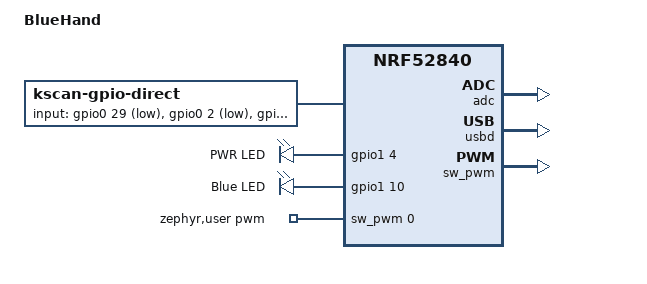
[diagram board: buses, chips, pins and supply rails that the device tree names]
/*
 * Copyright (c) 2022 The ZMK Contributors
 *
 * SPDX-License-Identifier: MIT
 */


/dts-v1/;
#include <nordic/nrf52840_qiaa.dtsi>
#include "arduino_pro_micro_pins.dtsi"

/ {
	model = "BlueHand";
	compatible = "blue,hand";

    chosen {
		zephyr,code-partition = &code_partition;
        zephyr,sram = &sram0;
		zephyr,flash = &flash0;
		zephyr,console = &cdc_acm_uart;
		zmk,kscan = &kscan0;
		zmk,matrix_transform = &layout_grid_transform;
    };

    kscan0: kscan_0 {
        compatible = "zmk,kscan-gpio-direct";
		label = "KSCAN";

        input-gpios
			= <&gpio0 29 (GPIO_ACTIVE_LOW | GPIO_PULL_UP)>
			, <&gpio0 2  (GPIO_ACTIVE_LOW | GPIO_PULL_UP)>
			, <&gpio0 28 (GPIO_ACTIVE_LOW | GPIO_PULL_UP)>
			, <&gpio0 3  (GPIO_ACTIVE_LOW | GPIO_PULL_UP)>
			, <&gpio0 13 (GPIO_ACTIVE_LOW | GPIO_PULL_UP)>
			, <&gpio0 24 (GPIO_ACTIVE_LOW | GPIO_PULL_UP)>
			, <&gpio0 9  (GPIO_ACTIVE_LOW | GPIO_PULL_UP)>
			, <&gpio0 10 (GPIO_ACTIVE_LOW | GPIO_PULL_UP)>
			;
    };

    leds {
		compatible = "gpio-leds";
		powerled: led_r {
			gpios = <&gpio1 4 GPIO_ACTIVE_HIGH>;
			label = "PWR LED";
		};

		activityled: led_b {
			gpios = <&gpio1 10 GPIO_ACTIVE_HIGH>;
			label = "Blue LED";
		};
	};

	zephyr,user {
		/* period cell corresponds to initial period */
		pwms = <&sw_pwm 0 PWM_USEC(1500) PWM_POLARITY_NORMAL>;
	};

};
&adc {
	status = "okay";
};

&gpiote {
	status = "okay";
};

&gpio0 {
	status = "okay";
};

&gpio1 {
	status = "okay";
};

&usbd {
	status = "okay";
	cdc_acm_uart: cdc_acm_uart {
		compatible = "zephyr,cdc-acm-uart";
		label = "CDC_ACM_0";
	};
};


&flash0 {
	/*
	 * For more information, see:
	 * http://docs.zephyrproject.org/latest/devices/dts/flash_partitions.html
	 */
	partitions {
		compatible = "fixed-partitions";
		#address-cells = <1>;
		#size-cells = <1>;

		sd_partition: partition@0 {
			label = "softdevice";
			reg = <0x00000000 0x00026000>;
		};
		code_partition: partition@26000 {
			label = "code_partition";
			reg = <0x00026000 0x000c6000>;
		};

		/*
		 * The flash starting at 0x000ec000 and ending at
		 * 0x000f3fff is reserved for use by the application.
		 */

		/*
		 * Storage partition will be used by FCB/LittleFS/NVS
		 * if enabled.
		 */
		storage_partition: partition@ec000 {
			label = "storage";
			reg = <0x000ec000 0x00008000>;
		};

		boot_partition: partition@f4000 {
			label = "adafruit_boot";
			reg = <0x000f4000 0x0000c000>;
		};
	};
};

&sw_pwm {
	status = "okay";
	channel-gpios = <&gpio1 13 GPIO_ACTIVE_HIGH>;
};
